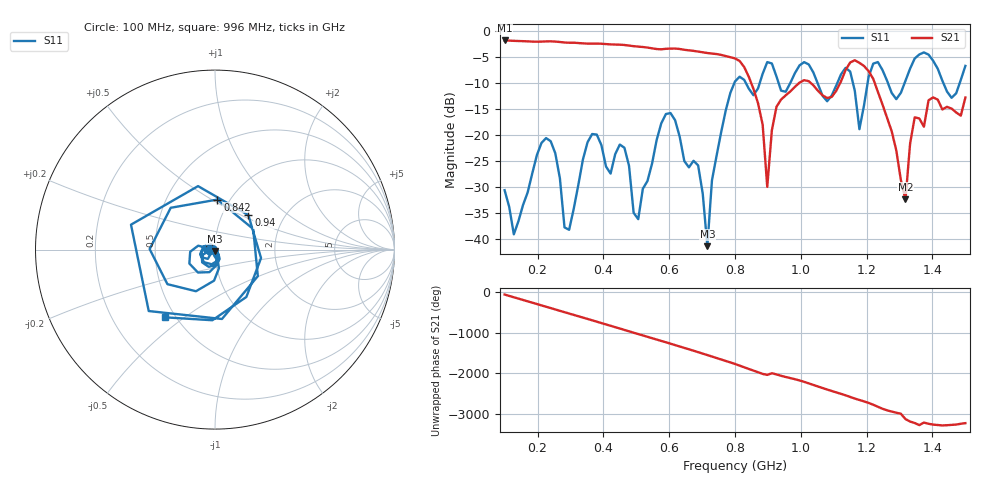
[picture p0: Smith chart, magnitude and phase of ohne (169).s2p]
! NanoVNA-App
! Date: 2025-09-25 14:22:07
! Start: 100MHz Stop: 1,5GHz Points: 101
! S-Parameter data: F S11 S21 S12 S22
# Hz S RI R 50
!  Frequency  S11_Real  S11_Imag  S21_Real  S21_Imag  S12_Real  S12_Imag  S22_Real  S22_Imag
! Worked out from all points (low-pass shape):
!   101 points, 100 MHz to 1.5 GHz, reference 50 ohm
!   highest |S21| = -1.79 dB at 100 MHz (marker M1); lowest = -32.4 dB at 1.318 GHz (marker M2)
!   |S21| within 3 dB of the highest: start of sweep to 771.2 MHz
!   lowest |S11| = -41.4 dB at 716 MHz (marker M3), VSWR 1.02, Z = 49.8 - j0.823 ohm
!   |S11| at or under -10 dB: start of sweep to 798 MHz; 833 MHz to 875.1 MHz (42.08 MHz wide, 4.93 % of centre); 1.051 GHz to 1.111 GHz (60.01 MHz wide, 5.55 % of centre) (the widest 3 of 7)
!   S12 and S22 are empty: the file has one direction only
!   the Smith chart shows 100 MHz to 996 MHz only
!   S11 on the Smith chart (normalised r, x): 100 MHz: 0.94, -0.01; 842 MHz: 0.88, +0.53; 940 MHz: 1.33, +0.55; 996 MHz: 0.44, -0.43
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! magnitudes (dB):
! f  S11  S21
! 100 MHz  -30.6  -1.8
! 128 MHz  -39.1  -1.9
! 226 MHz  -20.6  -2.0
! 296 MHz  -38.3  -2.2
! 338 MHz  -24.7  -2.4
! 464 MHz  -22.5  -2.7
! 506 MHz  -36.2  -3.0
! 576 MHz  -17.8  -3.5
! 688 MHz  -25.9  -3.9
! 716 MHz  -41.4  -4.2
! 800 MHz  -9.7  -5.3
! 842 MHz  -11.1  -8.8
! 898 MHz  -6.0  -30.0
! 940 MHz  -11.5  -13.2
! 996 MHz  -6.6  -9.9
! 1.038 GHz  -7.9  -10.4
! 1.178 GHz  -18.9  -6.1
! 1.22 GHz  -6.3  -9.2
! 1.276 GHz  -11.9  -19.3
! 1.318 GHz  -9.6  -32.4
! 1.346 GHz  -5.3  -16.6
! 1.5 GHz  -6.7  -12.8
